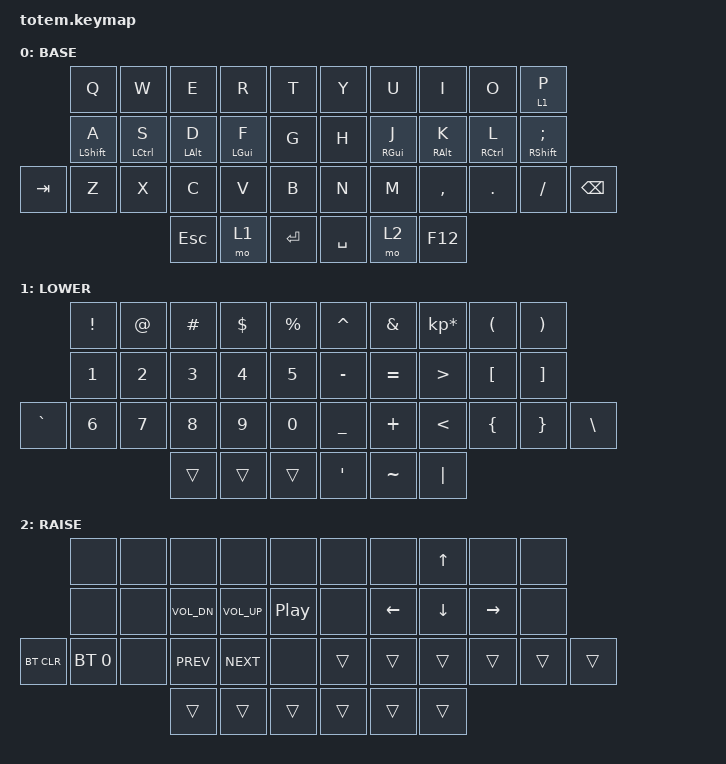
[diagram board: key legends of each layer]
/*
 * Copyright (c) 2020 The ZMK Contributors
 *
 * SPDX-License-Identifier: MIT
 */

#include <behaviors.dtsi>
#include <dt-bindings/zmk/keys.h>
#include <dt-bindings/zmk/bt.h>

/ {
    combos {
        compatible = "zmk,combos";
        //             ┏━━━━━━━━━━━┳━━━━━━━━━━━┳━━━━━━━━━━━┳━━━━━━━━━━━┳━━━━━━━━━━━┓   ┏━━━━━━━━━━━┳━━━━━━━━━━━┳━━━━━━━━━━━┳━━━━━━━━━━━┳━━━━━━━━━━━┓
        //             ┃     0     ┃     1     ┃     2     ┃     3     ┃     4     ┃   ┃     5     ┃     6     ┃     7     ┃     8     ┃     9     ┃
        //             ┣━━━━━━━━━━━╋━━━━━━━━━━━╋━━━━━━━━━━━╋━━━━━━━━━━━╋━━━━━━━━━━━┫   ┣━━━━━━━━━━━╋━━━━━━━━━━━╋━━━━━━━━━━━╋━━━━━━━━━━━╋━━━━━━━━━━━┫
        //             ┃    10     ┃    11     ┃    12     ┃    13     ┃    14     ┃   ┃    15     ┃    16     ┃    17     ┃    18     ┃    19     ┃
        // ┏━━━━━━━━━━━╋━━━━━━━━━━━╋━━━━━━━━━━━╋━━━━━━━━━━━╋━━━━━━━━━━━╋━━━━━━━━━━━┫   ┣━━━━━━━━━━━╋━━━━━━━━━━━╋━━━━━━━━━━━╋━━━━━━━━━━━╋━━━━━━━━━━━╋━━━━━━━━━━━┓
        // ┃    20     ┃    21     ┃    22     ┃    23     ┃    24     ┃    25     ┃   ┃    26     ┃    27     ┃    28     ┃    29     ┃    30     ┃    31     ┃
        // ┗━━━━━━━━━━━┻━━━━━━━━━━━┻━━━━━━━━━━━╋━━━━━━━━━━━╋━━━━━━━━━━━╋━━━━━━━━━━━┫   ┣━━━━━━━━━━━╋━━━━━━━━━━━╋━━━━━━━━━━━╋━━━━━━━━━━━┻━━━━━━━━━━━┻━━━━━━━━━━━┛
        //                                     ┃    32     ┃    33     ┃    34     ┃   ┃    35     ┃    36     ┃    37     ┃
        //                                     ┗━━━━━━━━━━━┻━━━━━━━━━━━┻━━━━━━━━━━━┛   ┗━━━━━━━━━━━┻━━━━━━━━━━━┻━━━━━━━━━━━┛
        combo_esc {
            timeout-ms = <50>;
            key-positions = <11 12 13>;
            bindings = <&kp ESC>;
        };
        combo_enter {
            timeout-ms = <50>;
            key-positions = <16 17 18>;
            bindings = <&kp RET>;
        };
    };

    behaviors {
        tp: tap_preferred {
            compatible = "zmk,behavior-hold-tap";
            label = "TAP_PREFERRED";
            #binding-cells = <2>;
            tapping-term-ms = <180>;
            quick-tap-ms = <200>;
            flavor = "tap-preferred";
            bindings = <&kp>, <&kp>;
        }; 
    };

    keymap {
        compatible = "zmk,keymap";

        default_layer {
// ┏━━━━━━━━━━━━━━━━━━━━━━━━━━━━━━━━━━━━━━━┓
label= "BASE"                              ;
// ┗━━━━━━━━━━━━━━━━━━━━━━━━━━━━━━━━━━━━━━━┛
//             ┏━━━━━━━━━━━┳━━━━━━━━━━━┳━━━━━━━━━━━┳━━━━━━━━━━━┳━━━━━━━━━━━┓   ┏━━━━━━━━━━━┳━━━━━━━━━━━┳━━━━━━━━━━━┳━━━━━━━━━━━┳━━━━━━━━━━━┓
//             ┃     Q     ┃     W     ┃     E     ┃     R     ┃     T     ┃   ┃     Y     ┃     U     ┃     I     ┃     O     ┃   P/LWR   ┃
//             ┣━━━━━━━━━━━╋━━━━━━━━━━━╋━━━━━━━━━━━╋━━━━━━━━━━━╋━━━━━━━━━━━┫   ┣━━━━━━━━━━━╋━━━━━━━━━━━╋━━━━━━━━━━━╋━━━━━━━━━━━╋━━━━━━━━━━━┫
//             ┃   A/SHF   ┃   S/CTL   ┃   D/ALT   ┃   F/GUI   ┃     G     ┃   ┃     H     ┃   J/GUI   ┃   K/ALT   ┃   L/CTL   ┃   ;/SHF   ┃
// ┏━━━━━━━━━━━╋━━━━━━━━━━━╋━━━━━━━━━━━╋━━━━━━━━━━━╋━━━━━━━━━━━╋━━━━━━━━━━━┫   ┣━━━━━━━━━━━╋━━━━━━━━━━━╋━━━━━━━━━━━╋━━━━━━━━━━━╋━━━━━━━━━━━╋━━━━━━━━━━━┓
// ┃    TAB    ┃     Z     ┃     X     ┃     C     ┃     V     ┃     B     ┃   ┃     N     ┃     M     ┃     ,     ┃     .     ┃     /     ┃   BSPC    ┃
// ┗━━━━━━━━━━━┻━━━━━━━━━━━┻━━━━━━━━━━━╋━━━━━━━━━━━╋━━━━━━━━━━━╋━━━━━━━━━━━┫   ┣━━━━━━━━━━━╋━━━━━━━━━━━╋━━━━━━━━━━━╋━━━━━━━━━━━┻━━━━━━━━━━━┻━━━━━━━━━━━┛
//                                     ┃    ESC    ┃   LOWER   ┃   ENTER   ┃   ┃   SPACE   ┃   RAISE   ┃    F12    ┃
//                                     ┗━━━━━━━━━━━┻━━━━━━━━━━━┻━━━━━━━━━━━┛   ┗━━━━━━━━━━━┻━━━━━━━━━━━┻━━━━━━━━━━━┛
 bindings = <
// ╷           ╷           ╷           ╷           ╷           ╷           ╷   ╷           ╷           ╷           ╷           ╷           ╷           ╷

                &kp Q       &kp W       &kp E        &kp R        &kp T           &kp Y       &kp U       &kp I       &kp O       &lt 1 P
                &tp LSHFT A &tp LCTRL S &tp LALT D   &tp LGUI F   &kp G           &kp H       &tp RGUI J  &tp RALT K  &tp RCTRL L &tp RSHFT SEMI
    &kp TAB     &kp Z       &kp X       &kp C        &kp V        &kp B           &kp N       &kp M       &kp COMMA   &kp DOT     &kp FSLH    &kp BSPC
                                        &kp ESC      &mo 1        &kp RET         &kp SPACE   &mo 2       &kp F12
                >;
        };

        layer_below {
// ┏━━━━━━━━━━━━━━━━━━━━━━━━━━━━━━━━━━━━━━━┓
label= "LOWER"                             ;
// ┗━━━━━━━━━━━━━━━━━━━━━━━━━━━━━━━━━━━━━━━┛
//             ┏━━━━━━━━━━━┳━━━━━━━━━━━┳━━━━━━━━━━━┳━━━━━━━━━━━┳━━━━━━━━━━━┓   ┏━━━━━━━━━━━┳━━━━━━━━━━━┳━━━━━━━━━━━┳━━━━━━━━━━━┳━━━━━━━━━━━┓
//             ┃     !     ┃     @     ┃     #     ┃     $     ┃     %     ┃   ┃     ^     ┃     &     ┃     *     ┃     (     ┃     )     ┃
//             ┣━━━━━━━━━━━╋━━━━━━━━━━━╋━━━━━━━━━━━╋━━━━━━━━━━━╋━━━━━━━━━━━┫   ┣━━━━━━━━━━━╋━━━━━━━━━━━╋━━━━━━━━━━━╋━━━━━━━━━━━╋━━━━━━━━━━━┫
//             ┃     1     ┃     2     ┃     3     ┃     4     ┃     5     ┃   ┃     -     ┃     =     ┃     >     ┃     [     ┃     ]     ┃
// ┏━━━━━━━━━━━╋━━━━━━━━━━━╋━━━━━━━━━━━╋━━━━━━━━━━━╋━━━━━━━━━━━╋━━━━━━━━━━━┫   ┣━━━━━━━━━━━╋━━━━━━━━━━━╋━━━━━━━━━━━╋━━━━━━━━━━━╋━━━━━━━━━━━╋━━━━━━━━━━━┓
// ┃     `     ┃     6     ┃     7     ┃     8     ┃     9     ┃     0     ┃   ┃     _     ┃     +     ┃     <     ┃     {     ┃     }     ┃     \     ┃
// ┗━━━━━━━━━━━┻━━━━━━━━━━━┻━━━━━━━━━━━╋━━━━━━━━━━━╋━━━━━━━━━━━╋━━━━━━━━━━━┫   ┣━━━━━━━━━━━╋━━━━━━━━━━━╋━━━━━━━━━━━╋━━━━━━━━━━━┻━━━━━━━━━━━┻━━━━━━━━━━━┛
//                                     ┃           ┃           ┃           ┃   ┃     '     ┃     ~     ┃     |     ┃
//                                     ┗━━━━━━━━━━━┻━━━━━━━━━━━┻━━━━━━━━━━━┛   ┗━━━━━━━━━━━┻━━━━━━━━━━━┻━━━━━━━━━━━┛
 bindings = <
// ╷           ╷           ╷           ╷           ╷           ╷           ╷   ╷           ╷           ╷           ╷           ╷           ╷           ╷

                &kp EXCL    &kp AT      &kp HASH     &kp DLLR     &kp PRCNT       &kp CARET   &kp AMPS    &kp KP_MULTIPLY &kp LPAR    &kp RPAR
                &kp N1      &kp N2      &kp N3       &kp N4       &kp N5          &kp MINUS   &kp EQUAL   &kp GT          &kp LBKT    &kp RBKT
    &kp GRAVE   &kp N6      &kp N7      &kp N8       &kp N9       &kp N0          &kp UNDER   &kp PLUS    &kp LT          &kp LBRC    &kp RBRC    &kp BSLH
                                        &trans       &trans       &trans          &kp SQT     &kp TILDE   &kp PIPE
                >;
        };

        layer_above {
// ┏━━━━━━━━━━━━━━━━━━━━━━━━━━━━━━━━━━━━━━━┓
label= "RAISE"                             ;
// ┗━━━━━━━━━━━━━━━━━━━━━━━━━━━━━━━━━━━━━━━┛
//             ┏━━━━━━━━━━━┳━━━━━━━━━━━┳━━━━━━━━━━━┳━━━━━━━━━━━┳━━━━━━━━━━━┓   ┏━━━━━━━━━━━┳━━━━━━━━━━━┳━━━━━━━━━━━┳━━━━━━━━━━━┳━━━━━━━━━━━┓
//             ┃           ┃           ┃           ┃           ┃           ┃   ┃           ┃           ┃    UP     ┃           ┃           ┃
//             ┣━━━━━━━━━━━╋━━━━━━━━━━━╋━━━━━━━━━━━╋━━━━━━━━━━━╋━━━━━━━━━━━┫   ┣━━━━━━━━━━━╋━━━━━━━━━━━╋━━━━━━━━━━━╋━━━━━━━━━━━╋━━━━━━━━━━━┫
//             ┃           ┃           ┃   Vol-    ┃   Vol+    ┃   Play    ┃   ┃           ┃   LEFT    ┃   DOWN    ┃   RIGHT   ┃           ┃
// ┏━━━━━━━━━━━╋━━━━━━━━━━━╋━━━━━━━━━━━╋━━━━━━━━━━━╋━━━━━━━━━━━╋━━━━━━━━━━━┫   ┣━━━━━━━━━━━╋━━━━━━━━━━━╋━━━━━━━━━━━╋━━━━━━━━━━━╋━━━━━━━━━━━╋━━━━━━━━━━━┓
// ┃  BT CLR   ┃    BT1    ┃           ┃   Prev    ┃   Next    ┃           ┃   ┃           ┃           ┃           ┃           ┃           ┃           ┃
// ┗━━━━━━━━━━━┻━━━━━━━━━━━┻━━━━━━━━━━━╋━━━━━━━━━━━╋━━━━━━━━━━━╋━━━━━━━━━━━┫   ┣━━━━━━━━━━━╋━━━━━━━━━━━╋━━━━━━━━━━━╋━━━━━━━━━━━┻━━━━━━━━━━━┻━━━━━━━━━━━┛
//                                     ┃           ┃           ┃           ┃   ┃           ┃           ┃           ┃
//                                     ┗━━━━━━━━━━━┻━━━━━━━━━━━┻━━━━━━━━━━━┛   ┗━━━━━━━━━━━┻━━━━━━━━━━━┻━━━━━━━━━━━┛
 bindings = <
// ╷           ╷           ╷           ╷           ╷           ╷           ╷   ╷           ╷           ╷           ╷           ╷           ╷           ╷

                &none       &none       &none        &none        &none           &none       &none       &kp UP      &none       &none
                &none       &none       &kp C_VOL_DN &kp C_VOL_UP &kp C_PP        &none       &kp LEFT    &kp DOWN    &kp RIGHT   &none
    &bt BT_CLR  &bt BT_SEL 0 &none      &kp C_PREV   &kp C_NEXT   &none           &trans      &trans      &trans      &trans      &trans      &trans
                                        &trans       &trans       &trans          &trans      &trans      &trans
                >;
        };
    };
};
